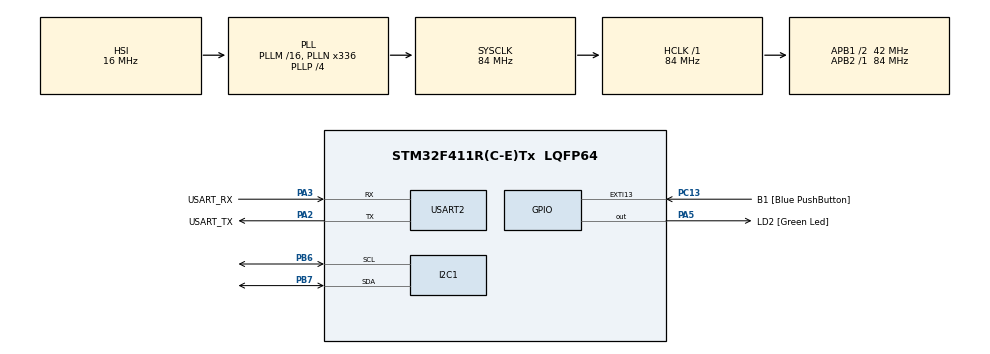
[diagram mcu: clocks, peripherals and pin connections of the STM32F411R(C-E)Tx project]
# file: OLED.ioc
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I2C1.I2C_Mode=I2C_Fast
Mcu.Family=STM32F4
Mcu.Name=STM32F411R(C-E)Tx
Mcu.Package=LQFP64
NVIC.PriorityGroup=NVIC_PRIORITYGROUP_0
PA13.GPIO_Label=TMS
PA13.Mode=Serial_Wire
PA13.Signal=SYS_JTMS-SWDIO
PA14.GPIO_Label=TCK
PA14.Mode=Serial_Wire
PA14.Signal=SYS_JTCK-SWCLK
PA2.GPIO_Label=USART_TX
PA2.Mode=Asynchronous
PA2.Signal=USART2_TX
PA3.GPIO_Label=USART_RX
PA3.Mode=Asynchronous
PA3.Signal=USART2_RX
PA5.GPIO_Label=LD2 [Green Led]
PA5.Signal=GPIO_Output
PB3.GPIO_Label=SWO
PB3.Signal=SYS_JTDO-SWO
PB6.Mode=I2C
PB6.Signal=I2C1_SCL
PB7.Mode=I2C
PB7.Signal=I2C1_SDA
PC13-ANTI_TAMP.GPIO_Label=B1 [Blue PushButton]
PC13-ANTI_TAMP.GPIO_ModeDefaultEXTI=GPIO_MODE_IT_FALLING
PC13-ANTI_TAMP.Signal=GPXTI13
PC14-OSC32_IN.Mode=LSE-External-Oscillator
PC14-OSC32_IN.Signal=RCC_OSC32_IN
PC15-OSC32_OUT.Mode=LSE-External-Oscillator
PC15-OSC32_OUT.Signal=RCC_OSC32_OUT
PH0\ -\ OSC_IN.Mode=HSE-External-Clock-Source
PH0\ -\ OSC_IN.Signal=RCC_OSC_IN
PH1\ -\ OSC_OUT.Mode=HSE-External-Clock-Source
PH1\ -\ OSC_OUT.Signal=RCC_OSC_OUT
ProjectManager.HeapSize=0x200
ProjectManager.StackSize=0x400
ProjectManager.TargetToolchain=STM32CubeIDE
RCC.48MHZClocksFreq_Value=84000000
RCC.AHBFreq_Value=84000000
RCC.APB1CLKDivider=RCC_HCLK_DIV2
RCC.APB1Freq_Value=42000000
RCC.APB1TimFreq_Value=84000000
RCC.APB2Freq_Value=84000000
RCC.APB2TimFreq_Value=84000000
RCC.CortexFreq_Value=84000000
RCC.FLatency-AdvancedSettings=FLASH_LATENCY_2
RCC.HCLKFreq_Value=84000000
RCC.HSE_VALUE=8000000
RCC.HSI_VALUE=16000000
RCC.PLLN=336
RCC.PLLP=RCC_PLLP_DIV4
RCC.SYSCLKFreq_VALUE=84000000
RCC.SYSCLKSource=RCC_SYSCLKSOURCE_PLLCLK
RCC.VCOOutputFreq_Value=336000000
USART2.VirtualMode=VM_ASYNC
board=NUCLEO-F411RE

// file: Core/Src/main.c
/* USER CODE BEGIN Header */
/**
  ******************************************************************************
  * @file           : main.c
  * @brief          : Main program body
  ******************************************************************************
  * @attention
  *
  * Copyright (c) 2023 STMicroelectronics.
  * All rights reserved.
  *
  * This software is licensed under terms that can be found in the LICENSE file
  * in the root directory of this software component.
  * If no LICENSE file comes with this software, it is provided AS-IS.
  *
  ******************************************************************************
  */
/* USER CODE END Header */
#include "main.h"

/* USER CODE BEGIN Includes */
#include "fonts.h"
#include "bitmaps.h"
#include "oled_Functions.h"
#include <stdio.h>
/* USER CODE END Includes */

I2C_HandleTypeDef hi2c1;

UART_HandleTypeDef huart2;

void SystemClock_Config(void);
static void MX_GPIO_Init(void);
static void MX_USART2_UART_Init(void);
static void MX_I2C1_Init(void);

int main(void)
{

  /* MCU Configuration--------------------------------------------------------*/

  /* Reset of all peripherals, Initializes the Flash interface and the Systick. */
  HAL_Init();

  /* Configure the system clock */
  SystemClock_Config();

  /* Initialize all configured peripherals */
  MX_GPIO_Init();
  MX_USART2_UART_Init();
  MX_I2C1_Init();
  /* USER CODE BEGIN 2 */
  SSD1306_Init();
  /* USER CODE END 2 */

  /* Infinite loop */
  /* USER CODE BEGIN WHILE */
  while (1)
  {
		SSD1306_Clear();
		HAL_Delay(1000);
		SSD1306_GotoXY (35,0);
		SSD1306_Puts ("SCORE !@#$", &ArialBold_9x10, 1);
		SSD1306_UpdateScreen();
		HAL_Delay(1000);
		SSD1306_ToggleInvert();
		SSD1306_UpdateScreen();
		HAL_Delay(1000);
		SSD1306_ToggleInvert();
		SSD1306_UpdateScreen();
		SSD1306_DrawCircle(64, 32, 10, SSD1306_COLOR_WHITE);
		HAL_Delay(1000);
		SSD1306_UpdateScreen();
		HAL_Delay(1000);
		SSD1306_ToggleInvert();
		SSD1306_UpdateScreen();
		HAL_Delay(1000);
		SSD1306_ToggleInvert();
		SSD1306_UpdateScreen();

//
//	  SSD1306_Clear();
//	  SSD1306_DrawBitmap(5, 5, (const unsigned char*)agh_24x44, 24, 44, SSD1306_COLOR_BLACK);
//	  SSD1306_UpdateScreen();
//	  HAL_Delay(5000);
//
//	  SSD1306_Clear();
//	  SSD1306_GotoXY(5, 10);
//	  SSD1306_Puts("abcd !@# fGHIJ <>", &ArialBold_9x10, SSD1306_COLOR_WHITE);
//	  SSD1306_GotoXY(5, 30);
//	  SSD1306_Puts("! \41 \42 \43 \44 \45 \46", &figures_6x6, SSD1306_COLOR_WHITE);
//	  SSD1306_GotoXY(5, 50);
//	  SSD1306_Puts("! \41 \42 \43 \44 \45 \46", &figures_6x6, SSD1306_COLOR_WHITE);
//	  SSD1306_UpdateScreen();
//	  HAL_Delay(5000);
//
//	  SSD1306_Clear();
//	  SSD1306_DrawBitmap(1, 1, (const unsigned char*)chessboard_63x63, 63, 63, SSD1306_COLOR_BLACK);
//	  SSD1306_UpdateScreen();
//	  HAL_Delay(5000);

	/* USER CODE END WHILE */

  }
}

void SystemClock_Config(void)
{
  RCC_OscInitTypeDef RCC_OscInitStruct = {0};
  RCC_ClkInitTypeDef RCC_ClkInitStruct = {0};

  /** Configure the main internal regulator output voltage
  */
  __HAL_RCC_PWR_CLK_ENABLE();
  __HAL_PWR_VOLTAGESCALING_CONFIG(PWR_REGULATOR_VOLTAGE_SCALE1);

  /** Initializes the RCC Oscillators according to the specified parameters
  * in the RCC_OscInitTypeDef structure.
  */
  RCC_OscInitStruct.OscillatorType = RCC_OSCILLATORTYPE_HSI;
  RCC_OscInitStruct.HSIState = RCC_HSI_ON;
  RCC_OscInitStruct.HSICalibrationValue = RCC_HSICALIBRATION_DEFAULT;
  RCC_OscInitStruct.PLL.PLLState = RCC_PLL_ON;
  RCC_OscInitStruct.PLL.PLLSource = RCC_PLLSOURCE_HSI;
  RCC_OscInitStruct.PLL.PLLM = 16;
  RCC_OscInitStruct.PLL.PLLN = 336;
  RCC_OscInitStruct.PLL.PLLP = RCC_PLLP_DIV4;
  RCC_OscInitStruct.PLL.PLLQ = 4;
  if (HAL_RCC_OscConfig(&RCC_OscInitStruct) != HAL_OK)
  {
    Error_Handler();
  }

  /** Initializes the CPU, AHB and APB buses clocks
  */
  RCC_ClkInitStruct.ClockType = RCC_CLOCKTYPE_HCLK|RCC_CLOCKTYPE_SYSCLK
                              |RCC_CLOCKTYPE_PCLK1|RCC_CLOCKTYPE_PCLK2;
  RCC_ClkInitStruct.SYSCLKSource = RCC_SYSCLKSOURCE_PLLCLK;
  RCC_ClkInitStruct.AHBCLKDivider = RCC_SYSCLK_DIV1;
  RCC_ClkInitStruct.APB1CLKDivider = RCC_HCLK_DIV2;
  RCC_ClkInitStruct.APB2CLKDivider = RCC_HCLK_DIV1;

  if (HAL_RCC_ClockConfig(&RCC_ClkInitStruct, FLASH_LATENCY_2) != HAL_OK)
  {
    Error_Handler();
  }
}

static void MX_I2C1_Init(void)
{

  hi2c1.Instance = I2C1;
  hi2c1.Init.ClockSpeed = 400000;
  hi2c1.Init.DutyCycle = I2C_DUTYCYCLE_2;
  hi2c1.Init.OwnAddress1 = 0;
  hi2c1.Init.AddressingMode = I2C_ADDRESSINGMODE_7BIT;
  hi2c1.Init.DualAddressMode = I2C_DUALADDRESS_DISABLE;
  hi2c1.Init.OwnAddress2 = 0;
  hi2c1.Init.GeneralCallMode = I2C_GENERALCALL_DISABLE;
  hi2c1.Init.NoStretchMode = I2C_NOSTRETCH_DISABLE;
  if (HAL_I2C_Init(&hi2c1) != HAL_OK)
  {
    Error_Handler();
  }

}

static void MX_USART2_UART_Init(void)
{

  huart2.Instance = USART2;
  huart2.Init.BaudRate = 115200;
  huart2.Init.WordLength = UART_WORDLENGTH_8B;
  huart2.Init.StopBits = UART_STOPBITS_1;
  huart2.Init.Parity = UART_PARITY_NONE;
  huart2.Init.Mode = UART_MODE_TX_RX;
  huart2.Init.HwFlowCtl = UART_HWCONTROL_NONE;
  huart2.Init.OverSampling = UART_OVERSAMPLING_16;
  if (HAL_UART_Init(&huart2) != HAL_OK)
  {
    Error_Handler();
  }

}

static void MX_GPIO_Init(void)
{
  GPIO_InitTypeDef GPIO_InitStruct = {0};

  /* GPIO Ports Clock Enable */
  __HAL_RCC_GPIOC_CLK_ENABLE();
  __HAL_RCC_GPIOH_CLK_ENABLE();
  __HAL_RCC_GPIOA_CLK_ENABLE();
  __HAL_RCC_GPIOB_CLK_ENABLE();

  /*Configure GPIO pin Output Level */
  HAL_GPIO_WritePin(LD2_GPIO_Port, LD2_Pin, GPIO_PIN_RESET);

  /*Configure GPIO pin : B1_Pin */
  GPIO_InitStruct.Pin = B1_Pin;
  GPIO_InitStruct.Mode = GPIO_MODE_IT_FALLING;
  GPIO_InitStruct.Pull = GPIO_NOPULL;
  HAL_GPIO_Init(B1_GPIO_Port, &GPIO_InitStruct);

  /*Configure GPIO pin : LD2_Pin */
  GPIO_InitStruct.Pin = LD2_Pin;
  GPIO_InitStruct.Mode = GPIO_MODE_OUTPUT_PP;
  GPIO_InitStruct.Pull = GPIO_NOPULL;
  GPIO_InitStruct.Speed = GPIO_SPEED_FREQ_LOW;
  HAL_GPIO_Init(LD2_GPIO_Port, &GPIO_InitStruct);

}

void Error_Handler(void)
{
  __disable_irq();
  while (1)
  {
  }
}
